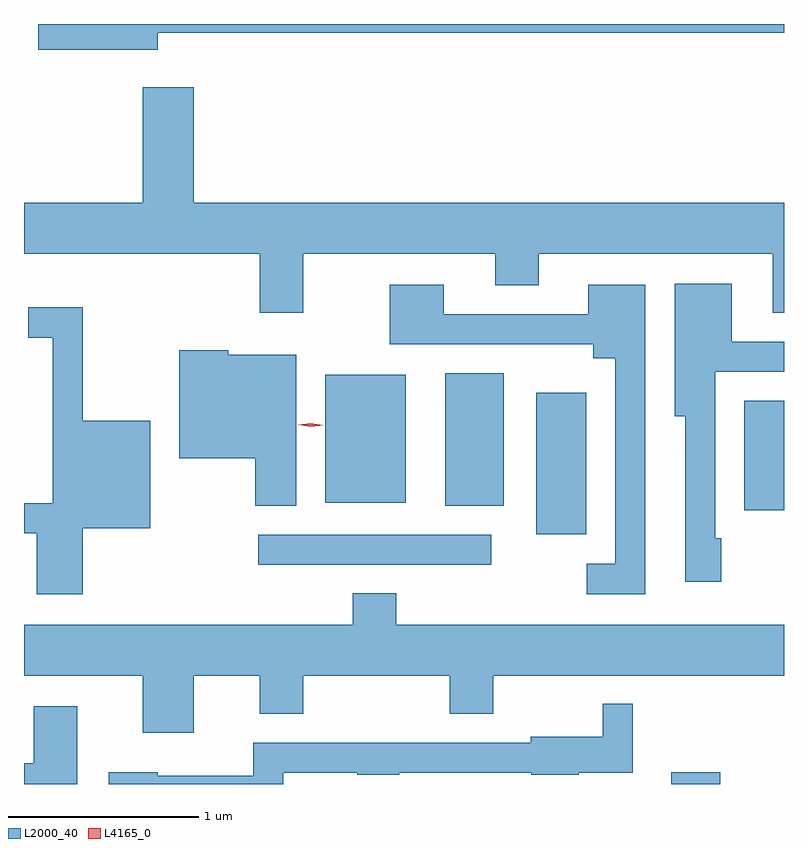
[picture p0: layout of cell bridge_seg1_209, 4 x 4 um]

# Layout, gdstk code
import gdstk
lib = gdstk.Library(unit=1e-6, precision=1e-09)
def R(c, l, rs):  # rectangles x0, y0, x1, y1
    for r in rs: c.add(gdstk.rectangle(r[:2], r[2:], *l))
def P(c, l, *ps):  # polygons
    for p in ps: c.add(gdstk.Polygon(p, *l))
L2000_40 = (2000, 40)
L4165_0 = (4165, 0)

bridge_seg1_209 = lib.new_cell('bridge_seg1_209')
R(bridge_seg1_209, L2000_40, [(837.236,912.326,837.494,912.389), (835.063,913.481,836.288,913.639), (836.526,913.641,836.789,914.384), (837.621,913.766,837.83,914.344), (836.046,913.791,836.354,914.489), (835.416,913.806,835.839,914.479)])
P(bridge_seg1_209, L2000_40, [(834.534,916.281),(837.83,916.281),(837.83,916.326),(833.906,916.326),(833.906,916.191),(834.534,916.191)],
  [(835.299,915.116),(836.311,915.116),(836.311,914.951),(836.539,914.951),(836.539,915.116),(837.771,915.116),(837.771,914.806),(837.83,914.806),(837.83,915.384),(834.724,915.384),(834.724,915.994),(834.456,915.994),(834.456,915.384),(833.83,915.384),(833.83,915.116),(835.071,915.116),(835.071,914.806),(835.299,914.806)],
  [(837.499,913.619),(837.469,913.619),(837.469,914.496),(837.83,914.496),(837.83,914.654),(837.554,914.654),(837.554,914.959),(837.256,914.959),(837.256,914.261),(837.311,914.261),(837.311,913.391),(837.499,913.391)],
  [(837.099,914.954),(836.801,914.954),(836.801,914.799),(836.039,914.799),(836.039,914.954),(835.756,914.954),(835.756,914.641),(836.826,914.641),(836.826,914.566),(836.941,914.566),(836.941,913.484),(836.793,913.484),(836.793,913.326),(837.099,913.326)],
  [(834.139,913.671),(834.494,913.671),(834.494,914.239),(834.139,914.239),(834.139,914.834),(833.853,914.834),(833.853,914.676),(833.981,914.676),(833.981,913.804),(833.83,913.804),(833.83,913.646),(833.896,913.646),(833.896,913.326),(834.139,913.326)],
  [(835.264,914.584),(834.904,914.584),(834.904,914.609),(834.646,914.609),(834.646,914.041),(835.046,914.041),(835.046,913.791),(835.264,913.791)],
  [(834.724,912.896),(835.071,912.896),(835.071,912.696),(835.299,912.696),(835.299,912.896),(836.071,912.896),(836.071,912.696),(836.299,912.696),(836.299,912.896),(837.83,912.896),(837.83,913.164),(835.789,913.164),(835.789,913.329),(835.561,913.329),(835.561,913.164),(833.83,913.164),(833.83,912.896),(834.456,912.896),(834.456,912.596),(834.724,912.596)],
  [(835.194,912.386),(835.585,912.386),(835.585,912.376),(835.805,912.376),(835.805,912.386),(836.5,912.386),(836.5,912.376),(836.75,912.376),(836.75,912.386),(837.034,912.386),(837.034,912.748),(836.876,912.748),(836.876,912.574),(836.496,912.574),(836.496,912.544),(835.036,912.544),(835.036,912.369),(834.534,912.369),(834.534,912.389),(834.276,912.389),(834.276,912.326),(835.194,912.326)],
  [(834.109,912.734),(833.881,912.734),(833.881,912.434),(833.83,912.434),(833.83,912.326),(834.109,912.326)])
P(bridge_seg1_209, L4165_0, [(835.34,914.206),(835.274,914.216),(835.273,914.216),(835.274,914.217),(835.34,914.225),(835.406,914.215),(835.406,914.215),(835.406,914.214)])

lib.write_gds('bridge_seg1_209.gds')
